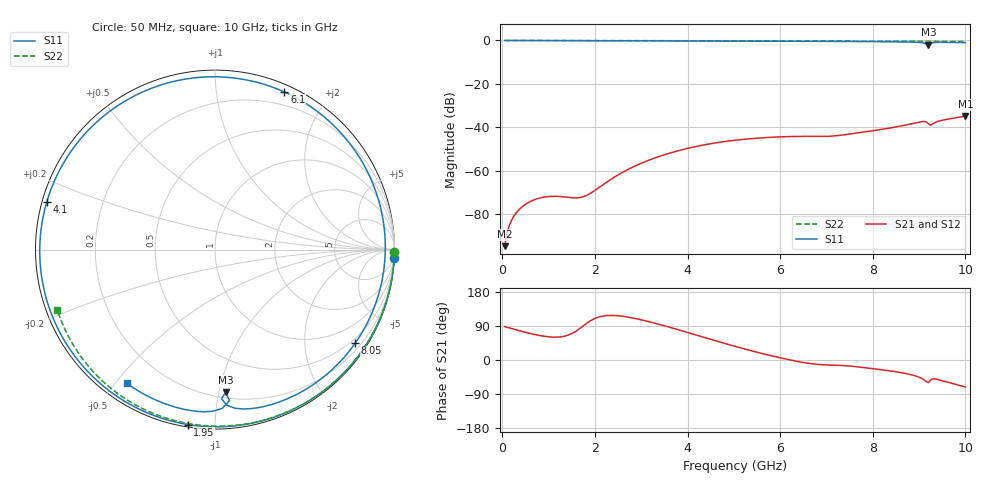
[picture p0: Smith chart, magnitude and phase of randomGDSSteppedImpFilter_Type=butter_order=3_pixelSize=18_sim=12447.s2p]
! freq	dB(S11)	phase(S11)	dB(S12)	phase(S12)
!  dB(S21)	phase(S21)	dB(S22)	phase(S22)
!S-par simulation data
#  GHz  S  DB  R 50
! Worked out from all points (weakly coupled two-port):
!   200 points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, 50 MHz to 10 GHz, reference 50 ohm
!   highest |S21| = -34.85 dB at 10 GHz (marker M1); lowest = -94.7 dB at 50 MHz (marker M2)
!   lowest |S11| = -2.0 dB at 9.2 GHz (marker M3), VSWR 8.89, Z = 12 - j52.4 ohm
!   |S11| at or under -10 dB: nowhere
!   |S22| runs from -0.5 to 0.0 dB; largest |S21 - S12| = 0
!   S11 on the Smith chart (normalised r, x): 50 MHz: 0, -43; 1.95 GHz: 0.01, -0.86; 4.1 GHz: 0.01, +0.14; 6.1 GHz: 0.07, +1.53; 8.05 GHz: 0.37, -3.25; 10 GHz: 0.07, -0.54
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0.05  -0.00 -2.7  -94.74 88.3  -94.74 88.3  -0.00 -0.9
0.25  -0.02 -13.3  -80.94 81.3  -80.94 81.3  -0.01 -4.6
0.6  -0.04 -31.7  -74.23 70.0  -74.23 70.0  -0.01 -10.9
0.95  -0.06 -49.7  -71.99 61.9  -71.99 61.9  -0.02 -17.2
1.35  -0.09 -69.9  -72.08 63.0  -72.08 63.0  -0.03 -24.4
1.75  -0.11 -89.3  -71.96 90.3  -71.96 90.3  -0.04 -31.5
1.95  -0.12 -98.8  -69.77 106.7  -69.77 106.7  -0.04 -35.0
2.75  -0.16 -135.5  -59.01 112.4  -59.01 112.4  -0.06 -48.8
3.4  -0.19 -164.5  -53.33 93.6  -53.33 93.6  -0.08 -59.7
4.1  -0.23 164.1  -49.21 69.1  -49.21 69.1  -0.10 -71.2
4.55  -0.26 143.3  -47.36 52.7  -47.36 52.7  -0.11 -78.3
5.05  -0.29 119.4  -45.90 35.2  -45.90 35.2  -0.13 -86.2
5.6  -0.33 92.0  -44.87 17.4  -44.87 17.4  -0.16 -94.6
6.1  -0.36 66.2  -44.33 3.1  -44.33 3.1  -0.18 -102.1
6.7  -0.40 34.8  -44.21 -10.2  -44.21 -10.2  -0.22 -111.0
7.35  -0.45 1.1  -43.53 -14.6  -43.53 -14.6  -0.26 -120.5
8.05  -0.55 -33.8  -41.42 -23.6  -41.42 -23.6  -0.32 -130.6
8.35  -0.60 -48.3  -40.41 -28.3  -40.41 -28.3  -0.35 -134.9
8.9  -0.79 -74.9  -38.10 -41.2  -38.10 -41.2  -0.40 -142.9
9.2  -1.96 -85.7  -38.37 -59.6  -38.37 -59.6  -0.44 -147.2
9.45  -0.85 -96.3  -37.01 -53.0  -37.01 -53.0  -0.47 -150.9
10  -0.99 -123.5  -34.85 -71.2  -34.85 -71.2  -0.54 -159.1
